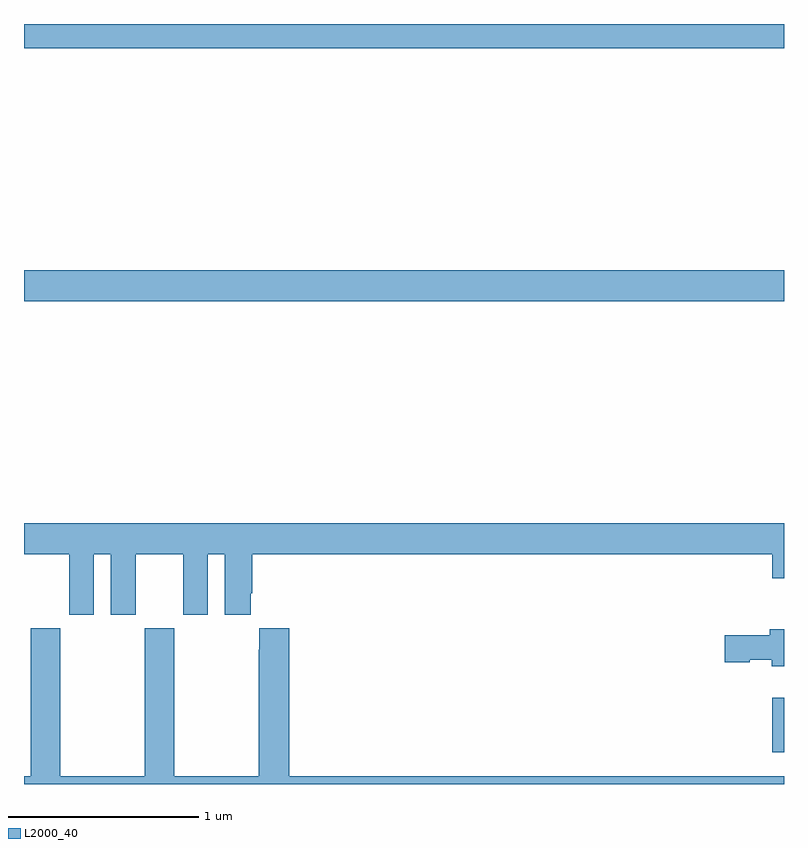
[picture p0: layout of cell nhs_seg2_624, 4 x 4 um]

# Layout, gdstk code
import gdstk
lib = gdstk.Library(unit=1e-6, precision=1e-09)
def R(c, l, rs):  # rectangles x0, y0, x1, y1
    for r in rs: c.add(gdstk.rectangle(r[:2], r[2:], *l))
def P(c, l, *ps):  # polygons
    for p in ps: c.add(gdstk.Polygon(p, *l))
L2000_40 = (2000, 40)

nhs_seg2_624 = lib.new_cell('nhs_seg2_624')
R(nhs_seg2_624, L2000_40, [(146.939,607.968,147,608.254), (143,610.34,147,610.504), (143,611.672,147,611.8)])
P(nhs_seg2_624, L2000_40, [(143.368,609.008),(143.456,609.008),(143.456,608.691),(143.587,608.691),(143.587,609.008),(143.837,609.008),(143.837,608.691),(143.968,608.691),(143.968,609.008),(144.056,609.008),(144.056,608.691),(144.193,608.691),(144.193,608.803),(144.2,608.803),(144.2,609.008),(146.939,609.008),(146.939,608.884),(147,608.884),(147,609.172),(143,609.172),(143,609.008),(143.237,609.008),(143.237,608.691),(143.368,608.691)],
  [(147,608.614),(146.924,608.614),(146.924,608.583),(146.688,608.583),(146.688,608.441),(146.82,608.441),(146.82,608.453),(146.936,608.453),(146.936,608.42),(147,608.42)],
  [(144.395,608.62),(144.239,608.62),(144.239,608.507),(144.235,608.507),(144.235,607.84),(143.79,607.84),(143.79,608.62),(143.635,608.62),(143.635,607.84),(143.19,607.84),(143.19,608.62),(143.035,608.62),(143.035,607.84),(143,607.84),(143,607.8),(147,607.8),(147,607.84),(144.395,607.84)])

lib.write_gds('nhs_seg2_624.gds')
